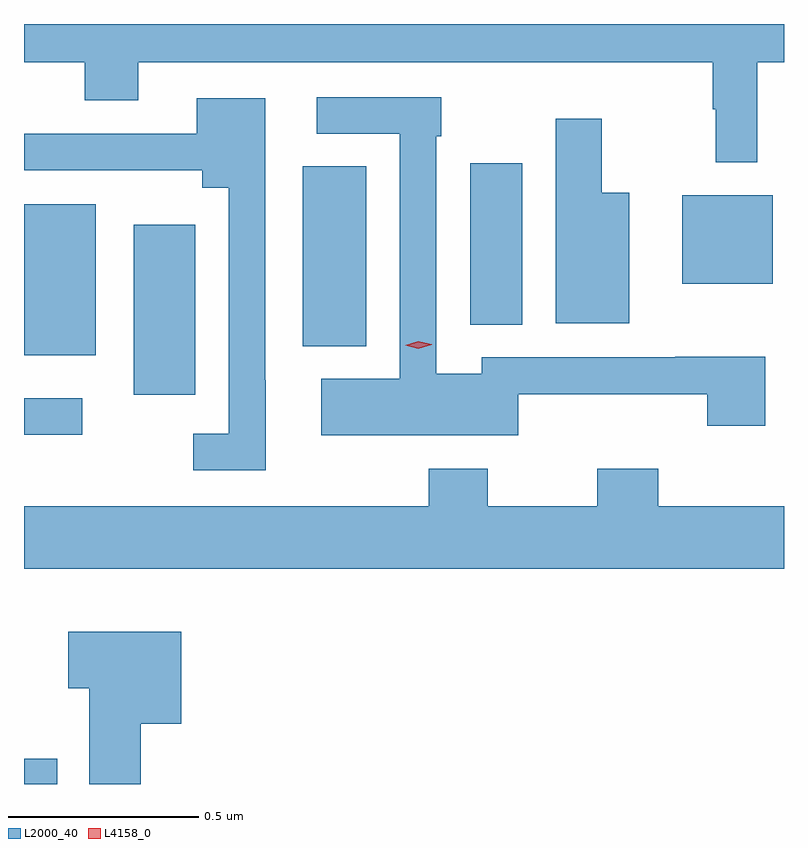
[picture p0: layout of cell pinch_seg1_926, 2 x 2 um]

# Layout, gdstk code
import gdstk
lib = gdstk.Library(unit=1e-6, precision=1e-09)
def R(c, l, rs):  # rectangles x0, y0, x1, y1
    for r in rs: c.add(gdstk.rectangle(r[:2], r[2:], *l))
def P(c, l, *ps):  # polygons
    for p in ps: c.add(gdstk.Polygon(p, *l))
L2000_40 = (2000, 40)
L4158_0 = (4158, 0)

pinch_seg1_926 = lib.new_cell('pinch_seg1_926')
R(pinch_seg1_926, L2000_40, [(578.215,528.521,578.302,528.587), (578.215,529.44,578.368,529.536), (578.504,529.545,578.665,529.993), (578.216,529.649,578.404,530.047), (578.948,529.673,579.115,530.147), (579.389,529.729,579.526,530.155), (579.947,529.838,580.186,530.071)])
P(pinch_seg1_926, L2000_40, [(580.144,530.42),(580.215,530.42),(580.215,530.521),(578.215,530.521),(578.215,530.42),(578.375,530.42),(578.375,530.321),(578.515,530.321),(578.515,530.42),(580.027,530.42),(580.027,530.297),(580.035,530.297),(580.035,530.157),(580.144,530.157)],
  [(579.516,529.547),(580.013,529.547),(580.013,529.464),(580.165,529.464),(580.165,529.646),(579.929,529.646),(579.929,529.644),(579.42,529.644),(579.42,529.6),(579.3,529.6),(579.3,530.225),(579.313,530.225),(579.313,530.328),(578.985,530.328),(578.985,530.232),(579.204,530.232),(579.204,529.588),(578.997,529.588),(578.997,529.439),(579.516,529.439)],
  [(578.851,529.583),(578.85,529.583),(578.85,530.326),(578.669,530.326),(578.669,530.232),(578.215,530.232),(578.215,530.136),(578.684,530.136),(578.684,530.09),(578.754,530.09),(578.754,529.443),(578.661,529.443),(578.661,529.347),(578.851,529.347)],
  [(579.808,530.077),(579.736,530.077),(579.736,530.272),(579.614,530.272),(579.614,529.733),(579.808,529.733)],
  [(580.215,529.252),(579.884,529.252),(579.884,529.351),(579.724,529.351),(579.724,529.252),(579.435,529.252),(579.435,529.351),(579.28,529.351),(579.28,529.252),(578.215,529.252),(578.215,529.088),(580.215,529.088)],
  [(578.522,528.68),(578.629,528.68),(578.629,528.922),(578.331,528.922),(578.331,528.773),(578.387,528.773),(578.387,528.521),(578.522,528.521)])
P(pinch_seg1_926, L4158_0, [(579.253,529.666),(579.218,529.675),(579.218,529.676),(579.218,529.676),(579.252,529.686),(579.288,529.678),(579.288,529.677),(579.288,529.677)])

lib.write_gds('pinch_seg1_926.gds')
